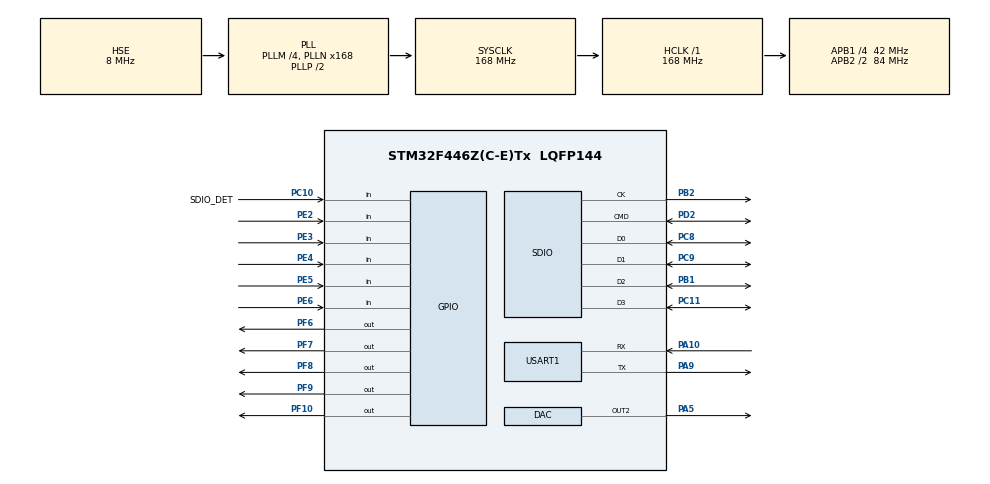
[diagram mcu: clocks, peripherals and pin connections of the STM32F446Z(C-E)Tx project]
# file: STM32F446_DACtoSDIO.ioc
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DAC.DAC_Trigger2=DAC_TRIGGER_T4_TRGO
Dma.DAC2.2.Direction=DMA_MEMORY_TO_PERIPH
Dma.DAC2.2.FIFOMode=DMA_FIFOMODE_DISABLE
Dma.DAC2.2.Instance=DMA1_Stream6
Dma.DAC2.2.MemDataAlignment=DMA_MDATAALIGN_BYTE
Dma.DAC2.2.MemInc=DMA_MINC_ENABLE
Dma.DAC2.2.Mode=DMA_NORMAL
Dma.DAC2.2.PeriphDataAlignment=DMA_PDATAALIGN_BYTE
Dma.DAC2.2.PeriphInc=DMA_PINC_DISABLE
Dma.DAC2.2.Priority=DMA_PRIORITY_LOW
Dma.Request0=SDIO_RX
Dma.Request1=SDIO_TX
Dma.Request2=DAC2
Dma.SDIO_RX.0.Direction=DMA_PERIPH_TO_MEMORY
Dma.SDIO_RX.0.FIFOMode=DMA_FIFOMODE_ENABLE
Dma.SDIO_RX.0.FIFOThreshold=DMA_FIFO_THRESHOLD_FULL
Dma.SDIO_RX.0.Instance=DMA2_Stream3
Dma.SDIO_RX.0.MemBurst=DMA_MBURST_INC4
Dma.SDIO_RX.0.MemDataAlignment=DMA_MDATAALIGN_WORD
Dma.SDIO_RX.0.MemInc=DMA_MINC_ENABLE
Dma.SDIO_RX.0.Mode=DMA_PFCTRL
Dma.SDIO_RX.0.PeriphBurst=DMA_PBURST_INC4
Dma.SDIO_RX.0.PeriphDataAlignment=DMA_PDATAALIGN_WORD
Dma.SDIO_RX.0.PeriphInc=DMA_PINC_DISABLE
Dma.SDIO_RX.0.Priority=DMA_PRIORITY_LOW
Dma.SDIO_TX.1.Direction=DMA_MEMORY_TO_PERIPH
Dma.SDIO_TX.1.FIFOMode=DMA_FIFOMODE_ENABLE
Dma.SDIO_TX.1.FIFOThreshold=DMA_FIFO_THRESHOLD_FULL
Dma.SDIO_TX.1.Instance=DMA2_Stream6
Dma.SDIO_TX.1.MemBurst=DMA_MBURST_INC4
Dma.SDIO_TX.1.MemDataAlignment=DMA_MDATAALIGN_WORD
Dma.SDIO_TX.1.MemInc=DMA_MINC_ENABLE
Dma.SDIO_TX.1.Mode=DMA_PFCTRL
Dma.SDIO_TX.1.PeriphBurst=DMA_PBURST_INC4
Dma.SDIO_TX.1.PeriphDataAlignment=DMA_PDATAALIGN_WORD
Dma.SDIO_TX.1.PeriphInc=DMA_PINC_DISABLE
Dma.SDIO_TX.1.Priority=DMA_PRIORITY_LOW
FATFS.BSP.number=1
FATFS.USE_DMA_CODE_SD=1
FATFS._MAX_SS=4096
FATFS._USE_LFN=3
FATFS0.BSP.STBoard=false
FATFS0.BSP.api=Unknown
FATFS0.BSP.i2caddr=0
FATFS0.BSP.instance=PC10
FATFS0.BSP.ip=GPIO
FATFS0.BSP.mode=Input
FATFS0.BSP.name=Detect_SDIO
FATFS0.BSP.solution=PC10
Mcu.Family=STM32F4
Mcu.Name=STM32F446Z(C-E)Tx
Mcu.Package=LQFP144
NVIC.DMA1_Stream6_IRQn=true\:0\:0\:false\:false\:true\:false
NVIC.DMA2_Stream3_IRQn=true\:0\:0\:false\:false\:true\:false
NVIC.DMA2_Stream6_IRQn=true\:0\:0\:false\:false\:true\:false
NVIC.PriorityGroup=NVIC_PRIORITYGROUP_4
NVIC.SDIO_IRQn=true\:0\:0\:false\:false\:true\:true
NVIC.TIM4_IRQn=true\:0\:0\:false\:false\:true\:true
NVIC.USART1_IRQn=true\:0\:0\:false\:false\:true\:true
PA10.Mode=Asynchronous
PA10.Signal=USART1_RX
PA5.Signal=COMP_DAC2_group
PA9.Mode=Asynchronous
PA9.Signal=USART1_TX
PB1.Mode=SD_4_bits_Wide_bus
PB1.Signal=SDIO_D2
PB2.Mode=SD_4_bits_Wide_bus
PB2.Signal=SDIO_CK
PC10.GPIO_Label=SDIO_DET
PC10.Signal=GPIO_Input
PC11.Mode=SD_4_bits_Wide_bus
PC11.Signal=SDIO_D3
PC8.Mode=SD_4_bits_Wide_bus
PC8.Signal=SDIO_D0
PC9.Mode=SD_4_bits_Wide_bus
PC9.Signal=SDIO_D1
PD2.Mode=SD_4_bits_Wide_bus
PD2.Signal=SDIO_CMD
PE2.Signal=GPIO_Input
PE3.Signal=GPIO_Input
PE4.Signal=GPIO_Input
PE5.Signal=GPIO_Input
PE6.Signal=GPIO_Input
PF10.Signal=GPIO_Output
PF6.Signal=GPIO_Output
PF7.Signal=GPIO_Output
PF8.Signal=GPIO_Output
PF9.Signal=GPIO_Output
PH0-OSC_IN.Mode=HSE-External-Oscillator
PH0-OSC_IN.Signal=RCC_OSC_IN
PH1-OSC_OUT.Mode=HSE-External-Oscillator
PH1-OSC_OUT.Signal=RCC_OSC_OUT
ProjectManager.HeapSize=0x2000
ProjectManager.StackSize=0x4000
ProjectManager.TargetToolchain=TrueSTUDIO
RCC.AHBFreq_Value=168000000
RCC.APB1CLKDivider=RCC_HCLK_DIV4
RCC.APB1Freq_Value=42000000
RCC.APB1TimFreq_Value=84000000
RCC.APB2CLKDivider=RCC_HCLK_DIV2
RCC.APB2Freq_Value=84000000
RCC.APB2TimFreq_Value=168000000
RCC.CortexFreq_Value=168000000
RCC.HCLKFreq_Value=168000000
RCC.HSE_VALUE=8000000
RCC.PLLM=4
RCC.PLLN=168
RCC.PLLQ=7
RCC.PLLSourceVirtual=RCC_PLLSOURCE_HSE
RCC.SYSCLKFreq_VALUE=168000000
RCC.SYSCLKSource=RCC_SYSCLKSOURCE_PLLCLK
RCC.USBFreq_Value=48000000
RCC.VCOOutputFreq_Value=336000000
SH.COMP_DAC2_group.0=DAC_OUT2,DAC_OUT2
TIM4.Period=32-1
TIM4.Prescaler=119-1
TIM4.TIM_MasterOutputTrigger=TIM_TRGO_UPDATE
TIM4.TIM_MasterSlaveMode=TIM_MASTERSLAVEMODE_DISABLE
TIM6.Period=16-1
TIM6.Prescaler=119-1
TIM6.TIM_MasterOutputTrigger=TIM_TRGO_UPDATE
USART1.VirtualMode=VM_ASYNC
VP_FATFS_VS_SDIO.Mode=SDIO
VP_TIM4_VS_ClockSourceINT.Mode=Internal
VP_TIM6_VS_ClockSourceINT.Mode=Enable_Timer
board=custom

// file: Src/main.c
/* USER CODE BEGIN Header */
/**
  ******************************************************************************
  * @file           : main.c
  * @brief          : Main program body
  ******************************************************************************
  * This notice applies to any and all portions of this file
  * that are not between comment pairs USER CODE BEGIN and
  * USER CODE END. Other portions of this file, whether
  * inserted by the user or by software development tools
  * are owned by their respective copyright owners.
  *
  * Copyright (c) 2019 STMicroelectronics International N.V.
  * All rights reserved.
  *
  * Redistribution and use in source and binary forms, with or without
  * modification, are permitted, provided that the following conditions are met:
  *
  * 1. Redistribution of source code must retain the above copyright notice,
  *    this list of conditions and the following disclaimer.
  * 2. Redistributions in binary form must reproduce the above copyright notice,
  *    this list of conditions and the following disclaimer in the documentation
  *    and/or other materials provided with the distribution.
  * 3. Neither the name of STMicroelectronics nor the names of other
  *    contributors to this software may be used to endorse or promote products
  *    derived from this software without specific written permission.
  * 4. This software, including modifications and/or derivative works of this
  *    software, must execute solely and exclusively on microcontroller or
  *    microprocessor devices manufactured by or for STMicroelectronics.
  * 5. Redistribution and use of this software other than as permitted under
  *    this license is void and will automatically terminate your rights under
  *    this license.
  *
  * THIS SOFTWARE IS PROVIDED BY STMICROELECTRONICS AND CONTRIBUTORS "AS IS"
  * AND ANY EXPRESS, IMPLIED OR STATUTORY WARRANTIES, INCLUDING, BUT NOT
  * LIMITED TO, THE IMPLIED WARRANTIES OF MERCHANTABILITY, FITNESS FOR A
  * PARTICULAR PURPOSE AND NON-INFRINGEMENT OF THIRD PARTY INTELLECTUAL PROPERTY
  * RIGHTS ARE DISCLAIMED TO THE FULLEST EXTENT PERMITTED BY LAW. IN NO EVENT
  * SHALL STMICROELECTRONICS OR CONTRIBUTORS BE LIABLE FOR ANY DIRECT, INDIRECT,
  * INCIDENTAL, SPECIAL, EXEMPLARY, OR CONSEQUENTIAL DAMAGES (INCLUDING, BUT NOT
  * LIMITED TO, PROCUREMENT OF SUBSTITUTE GOODS OR SERVICES; LOSS OF USE, DATA,
  * OR PROFITS; OR BUSINESS INTERRUPTION) HOWEVER CAUSED AND ON ANY THEORY OF
  * LIABILITY, WHETHER IN CONTRACT, STRICT LIABILITY, OR TORT (INCLUDING
  * NEGLIGENCE OR OTHERWISE) ARISING IN ANY WAY OUT OF THE USE OF THIS SOFTWARE,
  * EVEN IF ADVISED OF THE POSSIBILITY OF SUCH DAMAGE.
  *
  ******************************************************************************
  */
/* USER CODE END Header */

#include "main.h"
#include "fatfs.h"

/* USER CODE BEGIN Includes */
#include <string.h>
#include <stdlib.h>

#include "EMbed_GPIO_General.h"
#include "uart_general.h"
#include "sd_user_code.h"
#include "WaveHader.h"
/* USER CODE END Includes */

DAC_HandleTypeDef hdac;
DMA_HandleTypeDef hdma_dac2;

SD_HandleTypeDef hsd;
DMA_HandleTypeDef hdma_sdio_rx;
DMA_HandleTypeDef hdma_sdio_tx;

TIM_HandleTypeDef htim4;
TIM_HandleTypeDef htim6;

UART_HandleTypeDef huart1;

/* USER CODE BEGIN PV */
int mainTestArr[100] = {0,};
int IndexDAC = 0;
int TotalindexDAC = 0;
int tim_cnt = 0;

uint8_t dactest[10][10] = {
		{0, 25, 50, 75, 100, 125, 150, 175, 200, 225},
		{0, 25, 50, 75, 100, 125, 150, 175, 200, 225},
		{0, 25, 50, 75, 100, 125, 150, 175, 200, 225},
		{0, 25, 50, 75, 100, 125, 150, 175, 200, 225},
		{0, 25, 50, 75, 100, 125, 150, 175, 200, 225},
		{0, 25, 50, 75, 100, 125, 150, 175, 200, 225},
		{0, 25, 50, 75, 100, 125, 150, 175, 200, 225},
		{0, 25, 50, 75, 100, 125, 150, 175, 200, 225},
		{0, 25, 50, 75, 100, 125, 150, 175, 200, 225},
		{0, 25, 50, 75, 100, 125, 150, 175, 200, 225}

//		225, 200, 175, 150, 125, 100, 75, 50, 25, 0,
//		225, 200, 175, 150, 125, 100, 75, 50, 25, 0,
//		225, 200, 175, 150, 125, 100, 75, 50, 25, 0,
//		225, 200, 175, 150, 125, 100, 75, 50, 25, 0,
//		225, 200, 175, 150, 125, 100, 75, 50, 25, 0,
//		225, 200, 175, 150, 125, 100, 75, 50, 25, 0,
//		225, 200, 175, 150, 125, 100, 75, 50, 25, 0,
//		225, 200, 175, 150, 125, 100, 75, 50, 25, 0,
//		225, 200, 175, 150, 125, 100, 75, 50, 25, 0,
//		225, 200, 175, 150, 125, 100, 75, 50, 25, 0

};

/* USER CODE END PV */

void SystemClock_Config(void);
static void MX_GPIO_Init(void);
static void MX_DMA_Init(void);
static void MX_DAC_Init(void);
static void MX_TIM4_Init(void);
static void MX_USART1_UART_Init(void);
static void MX_SDIO_SD_Init(void);
static void MX_TIM6_Init(void);

/* USER CODE BEGIN 0 */
void HAL_TIM_PeriodElapsedCallback(TIM_HandleTypeDef *htim)
{

	if(htim->Instance == TIM4){
		if((WaveData.WavRepeatDataFlag == DISABLE_FLAG_BIT) && (WaveData.WavHdrClearFlag == ENABLE_FLAG_BIT)){

//			if(WaveHdr.Fmt.BlockAlign == WAVE_BYTE_ALIGN_1B){
				if(IndexDAC >= WaveData.WavDataSize_8Bit && WaveHdr.Fmt.BlockAlign == WAVE_BYTE_ALIGN_1B){

					if(WaveData.WavLasRepeatDataFlag == ENABLE_FLAG_BIT){

						WaveData.WavHdrClearFlag 		= DISABLE_FLAG_BIT;
						WaveData.WavRepeatDataFlag 		= DISABLE_FLAG_BIT;
						WaveData.WavLasRepeatDataFlag	= DISABLE_FLAG_BIT;
						WaveData.WavClearDataFlag 		= ENABLE_FLAG_BIT;

						IndexDAC = 0;
					}
					else{
						WaveHdr.Data.ChunkSize -= IndexDAC;
						if(WaveHdr.Data.ChunkSize < WaveData.WavDataSize_8Bit){
							WaveData.WavDataSize_8Bit		= WaveHdr.Data.ChunkSize;
							WaveData.WavLasRepeatDataFlag	= ENABLE_FLAG_BIT;
						}

						WaveData.WavRepeatDataFlag = ENABLE_FLAG_BIT;
						IndexDAC = 0;
					}
				}
				else if(IndexDAC >= WaveData.WavDataSize_16Bit && WaveHdr.Fmt.BlockAlign == WAVE_BYTE_ALIGN_2B){
					if(WaveData.WavLasRepeatDataFlag == ENABLE_FLAG_BIT){

						WaveData.WavHdrClearFlag 		= DISABLE_FLAG_BIT;
						WaveData.WavRepeatDataFlag 		= DISABLE_FLAG_BIT;
						WaveData.WavLasRepeatDataFlag	= DISABLE_FLAG_BIT;
						WaveData.WavClearDataFlag 		= ENABLE_FLAG_BIT;

						IndexDAC = 0;
					}
					else{
						WaveHdr.Data.ChunkSize -= IndexDAC;
						if(WaveHdr.Data.ChunkSize < WaveData.WavDataSize_16Bit){
							WaveData.WavDataSize_16Bit		= WaveHdr.Data.ChunkSize;
							WaveData.WavLasRepeatDataFlag	= ENABLE_FLAG_BIT;
						}

						WaveData.WavRepeatDataFlag = ENABLE_FLAG_BIT;
						IndexDAC = 0;
					}
				}
				else{

					IndexDAC++;
				}

//			}
		}
		else{
			IndexDAC = 0;
		}
		HAL_GPIO_TogglePin(GPIOF, GPIO_PIN_9);

	}
}

/* USER CODE END 0 */

int main(void)
{

  /* MCU Configuration--------------------------------------------------------*/

  /* Reset of all peripherals, Initializes the Flash interface and the Systick. */
  HAL_Init();

  /* Configure the system clock */
  SystemClock_Config();

  /* Initialize all configured peripherals */
  MX_GPIO_Init();
  MX_DMA_Init();
  MX_DAC_Init();
  MX_TIM4_Init();
  MX_USART1_UART_Init();
  MX_SDIO_SD_Init();
  MX_FATFS_Init();
  MX_TIM6_Init();
  /* USER CODE BEGIN 2 */

  //uart init func
  	GENERAL_UART_IT_Init(&huart1);
  	GENERAL_UART_Variable_Init(&uart1_general);
  	GENERAL_TX_TEST(&huart1);

  //WaveFile HEADER INIT
  	WaveFile_Hdr_Var_Init(&WaveHdr);

  	//Wave Volue Init
  	memset(&WaveData, NULL, sizeof(WAV_DATA_TypeDef));
  	WaveData.WavVolumLevel = VOLUM_LEVEL_1;
  	WaveData.WavVolumValue = VOLUM_LEVEL_VALUE_1;

	//Enable Timer 4
	HAL_TIM_Base_Start_IT(&htim4);

	//DAC Start Func
	HAL_DAC_Start(&hdac, DAC_CHANNEL_2);

	HAL_DAC_Stop_DMA(&hdac, DAC_CHANNEL_2);

	//SD File Mount
	f_mount(&myFatFS, SDPath, 0);

  /* USER CODE END 2 */

  /* Infinite loop */
  /* USER CODE BEGIN WHILE */
  while (1)
  {
	GPIO_BT_READ(&hButton);

	WaveDataRead();

    /* USER CODE END WHILE */

  }
}

void SystemClock_Config(void)
{
  RCC_OscInitTypeDef RCC_OscInitStruct = {0};
  RCC_ClkInitTypeDef RCC_ClkInitStruct = {0};
  RCC_PeriphCLKInitTypeDef PeriphClkInitStruct = {0};

  /**Configure the main internal regulator output voltage
  */
  __HAL_RCC_PWR_CLK_ENABLE();
  __HAL_PWR_VOLTAGESCALING_CONFIG(PWR_REGULATOR_VOLTAGE_SCALE1);
  /**Initializes the CPU, AHB and APB busses clocks
  */
  RCC_OscInitStruct.OscillatorType = RCC_OSCILLATORTYPE_HSE;
  RCC_OscInitStruct.HSEState = RCC_HSE_ON;
  RCC_OscInitStruct.PLL.PLLState = RCC_PLL_ON;
  RCC_OscInitStruct.PLL.PLLSource = RCC_PLLSOURCE_HSE;
  RCC_OscInitStruct.PLL.PLLM = 4;
  RCC_OscInitStruct.PLL.PLLN = 168;
  RCC_OscInitStruct.PLL.PLLP = RCC_PLLP_DIV2;
  RCC_OscInitStruct.PLL.PLLQ = 7;
  RCC_OscInitStruct.PLL.PLLR = 2;
  if (HAL_RCC_OscConfig(&RCC_OscInitStruct) != HAL_OK)
  {
    Error_Handler();
  }
  /**Initializes the CPU, AHB and APB busses clocks
  */
  RCC_ClkInitStruct.ClockType = RCC_CLOCKTYPE_HCLK|RCC_CLOCKTYPE_SYSCLK
                              |RCC_CLOCKTYPE_PCLK1|RCC_CLOCKTYPE_PCLK2;
  RCC_ClkInitStruct.SYSCLKSource = RCC_SYSCLKSOURCE_PLLCLK;
  RCC_ClkInitStruct.AHBCLKDivider = RCC_SYSCLK_DIV1;
  RCC_ClkInitStruct.APB1CLKDivider = RCC_HCLK_DIV4;
  RCC_ClkInitStruct.APB2CLKDivider = RCC_HCLK_DIV2;

  if (HAL_RCC_ClockConfig(&RCC_ClkInitStruct, FLASH_LATENCY_5) != HAL_OK)
  {
    Error_Handler();
  }
  PeriphClkInitStruct.PeriphClockSelection = RCC_PERIPHCLK_SDIO|RCC_PERIPHCLK_CLK48;
  PeriphClkInitStruct.Clk48ClockSelection = RCC_CLK48CLKSOURCE_PLLQ;
  PeriphClkInitStruct.SdioClockSelection = RCC_SDIOCLKSOURCE_CLK48;
  if (HAL_RCCEx_PeriphCLKConfig(&PeriphClkInitStruct) != HAL_OK)
  {
    Error_Handler();
  }
}

static void MX_DAC_Init(void)
{

  DAC_ChannelConfTypeDef sConfig = {0};

  /**DAC Initialization
  */
  hdac.Instance = DAC;
  if (HAL_DAC_Init(&hdac) != HAL_OK)
  {
    Error_Handler();
  }
  /**DAC channel OUT2 config
  */
  sConfig.DAC_Trigger = DAC_TRIGGER_T4_TRGO;
  sConfig.DAC_OutputBuffer = DAC_OUTPUTBUFFER_ENABLE;
  if (HAL_DAC_ConfigChannel(&hdac, &sConfig, DAC_CHANNEL_2) != HAL_OK)
  {
    Error_Handler();
  }

}

static void MX_SDIO_SD_Init(void)
{

  hsd.Instance = SDIO;
  hsd.Init.ClockEdge = SDIO_CLOCK_EDGE_RISING;
  hsd.Init.ClockBypass = SDIO_CLOCK_BYPASS_DISABLE;
  hsd.Init.ClockPowerSave = SDIO_CLOCK_POWER_SAVE_DISABLE;
  hsd.Init.BusWide = SDIO_BUS_WIDE_1B;
  hsd.Init.HardwareFlowControl = SDIO_HARDWARE_FLOW_CONTROL_DISABLE;
  hsd.Init.ClockDiv = 0;

}

static void MX_TIM4_Init(void)
{

  TIM_ClockConfigTypeDef sClockSourceConfig = {0};
  TIM_MasterConfigTypeDef sMasterConfig = {0};

  htim4.Instance = TIM4;
  htim4.Init.Prescaler = 119-1;
  htim4.Init.CounterMode = TIM_COUNTERMODE_UP;
  htim4.Init.Period = 16-1;
  htim4.Init.ClockDivision = TIM_CLOCKDIVISION_DIV1;
  if (HAL_TIM_Base_Init(&htim4) != HAL_OK)
  {
    Error_Handler();
  }
  sClockSourceConfig.ClockSource = TIM_CLOCKSOURCE_INTERNAL;
  if (HAL_TIM_ConfigClockSource(&htim4, &sClockSourceConfig) != HAL_OK)
  {
    Error_Handler();
  }
  sMasterConfig.MasterOutputTrigger = TIM_TRGO_UPDATE;
  sMasterConfig.MasterSlaveMode = TIM_MASTERSLAVEMODE_DISABLE;
  if (HAL_TIMEx_MasterConfigSynchronization(&htim4, &sMasterConfig) != HAL_OK)
  {
    Error_Handler();
  }

}

static void MX_TIM6_Init(void)
{

  TIM_MasterConfigTypeDef sMasterConfig = {0};

  htim6.Instance = TIM6;
  htim6.Init.Prescaler = 119-1;
  htim6.Init.CounterMode = TIM_COUNTERMODE_UP;
  htim6.Init.Period = 16-1;
  if (HAL_TIM_Base_Init(&htim6) != HAL_OK)
  {
    Error_Handler();
  }
  sMasterConfig.MasterOutputTrigger = TIM_TRGO_UPDATE;
  sMasterConfig.MasterSlaveMode = TIM_MASTERSLAVEMODE_DISABLE;
  if (HAL_TIMEx_MasterConfigSynchronization(&htim6, &sMasterConfig) != HAL_OK)
  {
    Error_Handler();
  }

}

static void MX_USART1_UART_Init(void)
{

  huart1.Instance = USART1;
  huart1.Init.BaudRate = 115200;
  huart1.Init.WordLength = UART_WORDLENGTH_8B;
  huart1.Init.StopBits = UART_STOPBITS_1;
  huart1.Init.Parity = UART_PARITY_NONE;
  huart1.Init.Mode = UART_MODE_TX_RX;
  huart1.Init.HwFlowCtl = UART_HWCONTROL_NONE;
  huart1.Init.OverSampling = UART_OVERSAMPLING_16;
  if (HAL_UART_Init(&huart1) != HAL_OK)
  {
    Error_Handler();
  }

}

static void MX_DMA_Init(void)
{
  /* DMA controller clock enable */
  __HAL_RCC_DMA2_CLK_ENABLE();
  __HAL_RCC_DMA1_CLK_ENABLE();

  /* DMA interrupt init */
  /* DMA1_Stream6_IRQn interrupt configuration */
  HAL_NVIC_SetPriority(DMA1_Stream6_IRQn, 0, 0);
  HAL_NVIC_EnableIRQ(DMA1_Stream6_IRQn);
  /* DMA2_Stream3_IRQn interrupt configuration */
  HAL_NVIC_SetPriority(DMA2_Stream3_IRQn, 0, 0);
  HAL_NVIC_EnableIRQ(DMA2_Stream3_IRQn);
  /* DMA2_Stream6_IRQn interrupt configuration */
  HAL_NVIC_SetPriority(DMA2_Stream6_IRQn, 0, 0);
  HAL_NVIC_EnableIRQ(DMA2_Stream6_IRQn);

}

static void MX_GPIO_Init(void)
{
  GPIO_InitTypeDef GPIO_InitStruct = {0};

  /* GPIO Ports Clock Enable */
  __HAL_RCC_GPIOE_CLK_ENABLE();
  __HAL_RCC_GPIOF_CLK_ENABLE();
  __HAL_RCC_GPIOH_CLK_ENABLE();
  __HAL_RCC_GPIOA_CLK_ENABLE();
  __HAL_RCC_GPIOB_CLK_ENABLE();
  __HAL_RCC_GPIOC_CLK_ENABLE();
  __HAL_RCC_GPIOD_CLK_ENABLE();

  /*Configure GPIO pin Output Level */
  HAL_GPIO_WritePin(GPIOF, GPIO_PIN_6|GPIO_PIN_7|GPIO_PIN_8|GPIO_PIN_9
                          |GPIO_PIN_10, GPIO_PIN_RESET);

  /*Configure GPIO pins : PE2 PE3 PE4 PE5
                           PE6 */
  GPIO_InitStruct.Pin = GPIO_PIN_2|GPIO_PIN_3|GPIO_PIN_4|GPIO_PIN_5
                          |GPIO_PIN_6;
  GPIO_InitStruct.Mode = GPIO_MODE_INPUT;
  GPIO_InitStruct.Pull = GPIO_NOPULL;
  HAL_GPIO_Init(GPIOE, &GPIO_InitStruct);

  /*Configure GPIO pins : PF6 PF7 PF8 PF9
                           PF10 */
  GPIO_InitStruct.Pin = GPIO_PIN_6|GPIO_PIN_7|GPIO_PIN_8|GPIO_PIN_9
                          |GPIO_PIN_10;
  GPIO_InitStruct.Mode = GPIO_MODE_OUTPUT_PP;
  GPIO_InitStruct.Pull = GPIO_NOPULL;
  GPIO_InitStruct.Speed = GPIO_SPEED_FREQ_LOW;
  HAL_GPIO_Init(GPIOF, &GPIO_InitStruct);

  /*Configure GPIO pin : SDIO_DET_Pin */
  GPIO_InitStruct.Pin = SDIO_DET_Pin;
  GPIO_InitStruct.Mode = GPIO_MODE_INPUT;
  GPIO_InitStruct.Pull = GPIO_NOPULL;
  HAL_GPIO_Init(SDIO_DET_GPIO_Port, &GPIO_InitStruct);

}

void Error_Handler(void)
{
}

/************************ (C) COPYRIGHT STMicroelectronics *****END OF FILE****/
